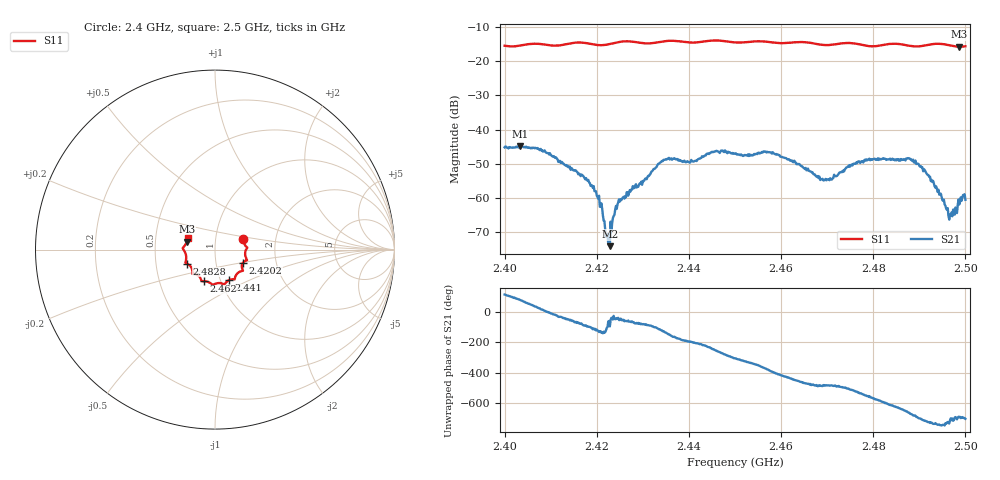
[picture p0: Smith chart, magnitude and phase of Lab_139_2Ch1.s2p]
# Hz S RI R 50
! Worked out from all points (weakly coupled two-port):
!   601 points, 2.4 GHz to 2.5 GHz, reference 50 ohm
!   highest |S21| = -44.83 dB at 2.4033 GHz (marker M1); lowest = -74.0 dB at 2.4228 GHz (marker M2)
!   lowest |S11| = -15.8 dB at 2.4987 GHz (marker M3), VSWR 1.39, Z = 36.3 + j3.26 ohm
!   |S11| at or under -10 dB: start of sweep to end of sweep
!   S12 and S22 are empty: the file has one direction only
!   S11 on the Smith chart (normalised r, x): 2.4 GHz: 1.36, +0.17; 2.4202 GHz: 1.35, -0.20; 2.441 GHz: 1.10, -0.39; 2.462 GHz: 0.83, -0.30; 2.4828 GHz: 0.72, -0.12; 2.5 GHz: 0.73, +0.09
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2.4e9  0.1569 0.0606  -0.00239 0.00498  0 0  0 0
2.403333e9  0.1672 0.0242  0.000977 0.00565  0 0  0 0
2.408333e9  0.1767 0.00578  0.00463 0.0012  0 0  0 0
2.416667e9  0.1776 -0.0591  0.000601 -0.00213  0 0  0 0
2.420167e9  0.1566 -0.0721  -0.00054 -0.000887  0 0  0 0
2.422333e9  0.1493 -0.0923  -4.02e-05 -0.000298  0 0  0 0
2.422833e9  0.1495 -0.0972  -1.36e-05 -0.000199  0 0  0 0
2.425e9  0.1552 -0.113  0.000553 -0.000702  0 0  0 0
2.433333e9  0.1126 -0.1521  -0.00105 -0.00299  0 0  0 0
2.441e9  0.0772 -0.1705  -0.00318 0.00127  0 0  0 0
2.4455e9  0.0522 -0.194  -0.00177 0.00446  0 0  0 0
2.45e9  0.0269 -0.1865  0.00252 0.00366  0 0  0 0
2.462e9  -0.0618 -0.176  0.000844 -0.00341  0 0  0 0
2.466667e9  -0.0772 -0.1672  -0.00119 -0.00205  0 0  0 0
2.4705e9  -0.1008 -0.1402  -0.00103 -0.00152  0 0  0 0
2.4765e9  -0.126 -0.1273  -0.00313 -0.000839  0 0  0 0
2.482833e9  -0.1579 -0.0778  -0.00174 0.00317  0 0  0 0
2.483333e9  -0.1607 -0.0765  -0.00141 0.00341  0 0  0 0
2.490167e9  -0.1642 -0.0209  0.00273 0.000923  0 0  0 0
2.496667e9  -0.1689 0.0216  0.000575 7.08e-05  0 0  0 0
2.498667e9  -0.1567 0.0437  0.000712 0.000388  0 0  0 0
2.5e9  -0.153 0.0621  0.000903 0.000282  0 0  0 0
